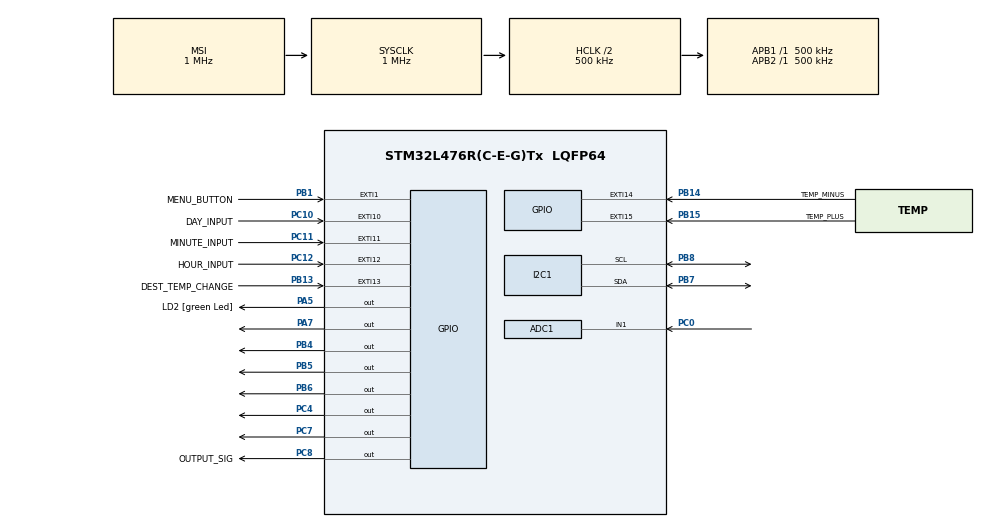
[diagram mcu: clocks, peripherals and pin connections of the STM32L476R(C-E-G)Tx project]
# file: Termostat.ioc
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ADC1.Channel-4\#ChannelRegularConversion=ADC_CHANNEL_1
ADC1.LowPowerAutoWait=DISABLE
ADC1.NbrOfConversionFlag=1
ADC1.OffsetNumber-4\#ChannelRegularConversion=ADC_OFFSET_NONE
ADC1.Overrun=ADC_OVR_DATA_OVERWRITTEN
ADC1.Rank-4\#ChannelRegularConversion=1
ADC1.SamplingTime-4\#ChannelRegularConversion=ADC_SAMPLETIME_640CYCLES_5
ADC1.master=1
I2C1.Timing=0x00000000
Mcu.Family=STM32L4
Mcu.Name=STM32L476R(C-E-G)Tx
Mcu.Package=LQFP64
NVIC.EXTI15_10_IRQn=true\:10\:0\:true\:false\:true\:true\:true\:true
NVIC.EXTI1_IRQn=true\:10\:0\:true\:false\:true\:true\:true\:true
NVIC.PriorityGroup=NVIC_PRIORITYGROUP_4
NVIC.TIM6_DAC_IRQn=true\:11\:0\:true\:false\:true\:true\:true\:true
NVIC.TIM7_IRQn=true\:5\:0\:true\:false\:true\:true\:true\:true
PA13\ (JTMS-SWDIO).GPIO_Label=TMS
PA13\ (JTMS-SWDIO).Mode=Serial_Wire
PA13\ (JTMS-SWDIO).Signal=SYS_JTMS-SWDIO
PA14\ (JTCK-SWCLK).GPIO_Label=TCK
PA14\ (JTCK-SWCLK).Mode=Serial_Wire
PA14\ (JTCK-SWCLK).Signal=SYS_JTCK-SWCLK
PA2.GPIO_Label=USART_TX
PA2.GPIO_Mode=GPIO_MODE_AF_PP
PA2.GPIO_PuPd=GPIO_NOPULL
PA2.GPIO_Speed=GPIO_SPEED_FREQ_VERY_HIGH
PA2.Signal=USART2_TX
PA3.GPIO_Label=USART_RX
PA3.GPIO_Mode=GPIO_MODE_AF_PP
PA3.GPIO_PuPd=GPIO_NOPULL
PA3.GPIO_Speed=GPIO_SPEED_FREQ_VERY_HIGH
PA3.Signal=USART2_RX
PA5.GPIO_Label=LD2 [green Led]
PA5.GPIO_ModeDefaultOutputPP=GPIO_MODE_OUTPUT_PP
PA5.GPIO_PuPd=GPIO_NOPULL
PA5.GPIO_Speed=GPIO_SPEED_FREQ_LOW
PA5.Signal=GPIO_Output
PA7.Signal=GPIO_Output
PB1.GPIO_Label=MENU_BUTTON
PB1.GPIO_ModeDefaultEXTI=GPIO_MODE_IT_FALLING
PB1.Signal=GPXTI1
PB13.GPIO_Label=DEST_TEMP_CHANGE
PB13.GPIO_ModeDefaultEXTI=GPIO_MODE_IT_FALLING
PB13.Signal=GPXTI13
PB14.GPIO_Label=TEMP_MINUS
PB14.GPIO_ModeDefaultEXTI=GPIO_MODE_IT_FALLING
PB14.Signal=GPXTI14
PB15.GPIO_Label=TEMP_PLUS
PB15.GPIO_ModeDefaultEXTI=GPIO_MODE_IT_FALLING
PB15.Signal=GPXTI15
PB3\ (JTDO-TRACESWO).GPIO_Label=SWO
PB3\ (JTDO-TRACESWO).Signal=SYS_JTDO-SWO
PB4\ (NJTRST).Signal=GPIO_Output
PB5.Signal=GPIO_Output
PB6.Signal=GPIO_Output
PB7.Mode=I2C
PB7.Signal=I2C1_SDA
PB8.Mode=I2C
PB8.Signal=I2C1_SCL
PC0.Signal=ADCx_IN1
PC10.GPIO_Label=DAY_INPUT
PC10.GPIO_ModeDefaultEXTI=GPIO_MODE_IT_FALLING
PC10.GPIO_PuPd=GPIO_NOPULL
PC10.Signal=GPXTI10
PC11.GPIO_Label=MINUTE_INPUT
PC11.GPIO_ModeDefaultEXTI=GPIO_MODE_IT_FALLING
PC11.GPIO_PuPd=GPIO_NOPULL
PC11.Signal=GPXTI11
PC12.GPIO_Label=HOUR_INPUT
PC12.GPIO_ModeDefaultEXTI=GPIO_MODE_IT_FALLING
PC12.GPIO_PuPd=GPIO_NOPULL
PC12.Signal=GPXTI12
PC14-OSC32_IN\ (PC14).Mode=LSE-External-Oscillator
PC14-OSC32_IN\ (PC14).Signal=RCC_OSC32_IN
PC15-OSC32_OUT\ (PC15).Mode=LSE-External-Oscillator
PC15-OSC32_OUT\ (PC15).Signal=RCC_OSC32_OUT
PC4.Signal=GPIO_Output
PC7.Signal=GPIO_Output
PC8.GPIO_Label=OUTPUT_SIG
PC8.Signal=GPIO_Output
PH0-OSC_IN\ (PH0).Signal=RCC_OSC_IN
PH1-OSC_OUT\ (PH1).Signal=RCC_OSC_OUT
ProjectManager.HeapSize=0x200
ProjectManager.StackSize=0x400
ProjectManager.TargetToolchain=STM32CubeIDE
RCC.ADCFreq_Value=32000000
RCC.AHBCLKDivider=RCC_SYSCLK_DIV2
RCC.AHBFreq_Value=500000
RCC.APB1Freq_Value=500000
RCC.APB1TimFreq_Value=500000
RCC.APB2Freq_Value=500000
RCC.APB2TimFreq_Value=500000
RCC.CortexFreq_Value=500000
RCC.HCLKFreq_Value=500000
RCC.HSE_VALUE=8000000
RCC.HSI_VALUE=16000000
RCC.MSIClockRange=RCC_MSIRANGE_4
RCC.MSI_VALUE=1000000
RCC.PLLN=10
RCC.PLLSAI1R=RCC_PLLR_DIV4
RCC.PLLSourceVirtual=RCC_PLLSOURCE_HSI
RCC.PREFETCH_ENABLE=1
RCC.RTCClockSelection=RCC_RTCCLKSOURCE_LSE
RCC.SYSCLKFreq_VALUE=1000000
RCC.USBFreq_Value=64000000
RCC.VCOOutputFreq_Value=160000000
SH.ADCx_IN1.0=ADC1_IN1,IN1-Single-Ended
TIM6.Period=249
TIM6.Prescaler=19999
TIM7.Period=1499
TIM7.Prescaler=19999
VP_RTC_VS_RTC_Activate.Mode=RTC_Enabled
VP_TIM6_VS_ClockSourceINT.Mode=Enable_Timer
VP_TIM7_VS_ClockSourceINT.Mode=Enable_Timer
board=NUCLEO-L476RG

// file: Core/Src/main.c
/* USER CODE BEGIN Header */
/**
  ******************************************************************************
  * @file           : main.c
  * @brief          : Main program body
  ******************************************************************************
  * @attention
  *
  * Copyright (c) 2022 STMicroelectronics.
  * All rights reserved.
  *
  * This software is licensed under terms that can be found in the LICENSE file
  * in the root directory of this software component.
  * If no LICENSE file comes with this software, it is provided AS-IS.
  *
  ******************************************************************************
  */
/* USER CODE END Header */
#include "main.h"
#include "adc.h"
#include "i2c.h"
#include "rtc.h"
#include "tim.h"
#include "gpio.h"

/* USER CODE BEGIN Includes */
#include <stdio.h>
#include "lcd.h"
#include <stdbool.h>
#include "eeprom.h"
/* USER CODE END Includes */

void SystemClock_Config(void);

/* USER CODE BEGIN 0 */
uint32_t value;

float temp,p_temp=0.0f, dest_temp_C = 15.0f, p_dest_temp_C = 0.0f, dest_temp_H = 24.0f, p_dest_temp_H = 0.0f;//variables for keeping temperature values
							//temp - current temperature, dest_temp_c/h - target temperature cold/hot, p_xxxx - previous value of this variable

bool work_state = true, p_work_state = false, boiler_state = false,p_boiler_state = false;
		//work_state - chosen target temperature (cold/hot), boiler_state - signal sent to boiler, p_xxxx - previous value of this variable

bool tick_stopped = false;//variable is set to true, when controller is in sleep mode. tick has to be stopped to prevent waking up processor by "increment tick interrupt" function

char* days[] = {"Pon ","Wt  ","Sr  ","Czw ","Pt  ","Sob ","Nied"};

char* work_state_strings[] = {"GT", "DT"};

RTC_TimeTypeDef time = {0};
RTC_TimeTypeDef pTime = {1};
RTC_DateTypeDef date = {0};
RTC_DateTypeDef pDate = {0};

bool schedule [7][24];//this array is a plan heating plan for every hour every day

int week_day=0,p_week_day = 0,hour=0, p_hour = 0;

bool p_mode = false;

volatile bool menu_enabled = false;

void CheckHisteresis()//changes boiler state according to histeresis
{
	if(work_state == true)
			  {
				  if(temp<=dest_temp_H-0.4f)
				  {
					  boiler_state = true;
					  HAL_GPIO_WritePin(OUTPUT_SIG_GPIO_Port, OUTPUT_SIG_Pin, GPIO_PIN_SET);
				  }
				  else if(temp>=dest_temp_H+0.4f)
				  {
					  boiler_state = false;
					  HAL_GPIO_WritePin(OUTPUT_SIG_GPIO_Port, OUTPUT_SIG_Pin, GPIO_PIN_RESET);
				  }
			  }
			  else
			  {
				  if(temp<=dest_temp_C-0.4f)
				  	{
				  		boiler_state = true;
				  		HAL_GPIO_WritePin(OUTPUT_SIG_GPIO_Port, OUTPUT_SIG_Pin, GPIO_PIN_SET);
				  	}
				  	else if(temp>=dest_temp_C+0.4f)
				  	{
				  		boiler_state = false;
				  		HAL_GPIO_WritePin(OUTPUT_SIG_GPIO_Port, OUTPUT_SIG_Pin, GPIO_PIN_RESET);
				  	}
			  }
}
void HAL_TIM_PeriodElapsedCallback(TIM_HandleTypeDef *htim)
{
	if(tick_stopped == true)
	{
		HAL_ResumeTick();
		tick_stopped = false;
		__HAL_TIM_SET_COUNTER(&htim6,0);
		HAL_TIM_Base_Start_IT(&htim6);
	}

	if(htim==&htim7)//ADC reading for temperature sensor
	{
		HAL_ADC_Start(&hadc1);
		HAL_ADC_PollForConversion(&hadc1, HAL_MAX_DELAY);
		value = HAL_ADC_GetValue(&hadc1);
		temp = value*330.0f/4096.0f;
		CheckHisteresis();
		//printf("przerwanie\n");
	}
	if(htim==&htim6)//sleep mode activation
	{
		HAL_TIM_Base_Stop_IT(&htim6);
		tick_stopped = true;
		HAL_SuspendTick();
		HAL_PWR_EnterSLEEPMode(PWR_MAINREGULATOR_ON, PWR_SLEEPENTRY_WFI);
	}
}

/*int __io_putchar(int ch)
{
	if(ch=='\n')
	{
		uint8_t ch2 = '\r';
		HAL_UART_Transmit(&huart2, &ch2, 1, HAL_MAX_DELAY);
	}
	HAL_UART_Transmit(&huart2, (uint8_t*)&ch, 1, HAL_MAX_DELAY);
	return 1;
}*/

void HAL_GPIO_EXTI_Callback(uint16_t GPIO_Pin)//interruptions from buttons
{
	__HAL_TIM_SET_COUNTER(&htim6,0);
	if(tick_stopped == true)
	{
		HAL_ResumeTick();
		tick_stopped = false;
		__HAL_TIM_SET_COUNTER(&htim6,0);
		HAL_TIM_Base_Start_IT(&htim6);
	}
	RTC_TimeTypeDef time = {0};
	RTC_DateTypeDef date = {0};

	time.TimeFormat = RTC_HOURFORMAT_24;
	HAL_RTC_GetTime(&hrtc, &time, RTC_FORMAT_BIN);
	HAL_RTC_GetDate(&hrtc, &date, RTC_FORMAT_BIN);

	switch(GPIO_Pin)
	{
		case DAY_INPUT_Pin://changes day in main view or schedule menu
		{
			if(menu_enabled == false)
			{
				if(date.WeekDay == RTC_WEEKDAY_SUNDAY)
					date.WeekDay = RTC_WEEKDAY_MONDAY;
				else
					date.WeekDay++;
				HAL_RTC_SetDate(&hrtc, &date, RTC_FORMAT_BIN);
			}
			else
			{
				if(week_day<6)
					week_day++;
				else
					week_day = 0;
			}
			break;
		}
		case HOUR_INPUT_Pin://changes hour in main view or schedule menu
		{
			if(menu_enabled == false)
			{
				if(time.Hours>=23)
				{
					time.Hours = 0;
				}

				else
				{
					time.Hours++;
				}
				HAL_RTC_SetTime(&hrtc, &time, RTC_FORMAT_BIN);
			}
			else
			{
				if(hour<23)
					hour++;
				else
					hour = 0;
			}
			break;
		}
		case MINUTE_INPUT_Pin://changes minute in main view
		{
			if(menu_enabled == false)
			{
				if(time.Minutes >= 59)
				{
					time.Minutes = 0;
				}
				else
				{
					time.Minutes++;
				}
				HAL_RTC_SetTime(&hrtc, &time, RTC_FORMAT_BIN);
			}
			break;
		}
		case DEST_TEMP_CHANGE_Pin://changes destination temperature to high or low (work_state)
		{
			if(menu_enabled == false)
			{
				work_state = !work_state;
				CheckHisteresis();
			}
			else
			{
				schedule[week_day][hour] = !schedule[week_day][hour];
			}
			break;
		}
		case TEMP_PLUS_Pin://changes value of destination temperature
		{
			if(menu_enabled == false)
			{
				if(work_state == true)
				{
					if(dest_temp_H<30.0f)
						dest_temp_H += 0.5f;
				}
				else
				{
					if(dest_temp_C<=dest_temp_H-1.0f)
						dest_temp_C += 0.5f;
				}
				CheckHisteresis();
			}
			break;
		}
		case TEMP_MINUS_Pin://changes value of destination temperature
		{
			if(menu_enabled == false)
			{
				if(work_state == true)
				{
					if(dest_temp_H>=dest_temp_C+1.0f)
						dest_temp_H = dest_temp_H - 0.5f;
				}
				else
				{
					if(dest_temp_C>5)
						dest_temp_C -= 0.5f;
				}
				CheckHisteresis();
			}
			break;
		}
		case MENU_BUTTON_Pin://enters or leaves schedule menu
		{
			menu_enabled = !menu_enabled;
			break;
		}
	}
	HAL_Delay(50);
}

// Lcd_PortType ports[] = { D4_GPIO_Port, D5_GPIO_Port, D6_GPIO_Port, D7_GPIO_Port };
  Lcd_PortType ports[] = { GPIOC, GPIOB, GPIOA, GPIOC };
  // Lcd_PinType pins[] = {D4_Pin, D5_Pin, D6_Pin, D7_Pin};
  Lcd_PinType pins[] = {GPIO_PIN_7, GPIO_PIN_6, GPIO_PIN_7, GPIO_PIN_4};
  Lcd_HandleTypeDef lcd;

void DisplayDay()//displays day in main view
{
	Lcd_cursor(&lcd, 0,0);
	Lcd_string(&lcd, days[date.WeekDay-1]);
}
void DisplayDayInMenu()//displays day in menu
{
	Lcd_cursor(&lcd, 1,0);
	Lcd_string(&lcd, days[week_day]);
}
void DisplayHourInMenu()//displays hour in menu
{
	Lcd_cursor(&lcd, 1,5);
	Lcd_string(&lcd, "godz:");
	if(hour<10)
		Lcd_int(&lcd, 0);
	Lcd_int(&lcd, hour);
}
void DisplayModeInMenu()//displays chosen target temperature in schedule menu
{
	Lcd_cursor(&lcd, 1,12);
	Lcd_string(&lcd, "->");
	if(schedule[week_day][hour]==true)
	{
		Lcd_string(&lcd, work_state_strings[0]);
	}
	else
	{
		Lcd_string(&lcd, work_state_strings[1]);
	}
}
void DisplayTime()//displays time in main view
{
	Lcd_cursor(&lcd, 0,5);
	if(time.Hours<=9)
	    {
	    	Lcd_int(&lcd, 0);
	    	Lcd_int(&lcd, time.Hours);
	    }
	    else
	    	Lcd_int(&lcd, time.Hours);

	    Lcd_string(&lcd, ":");
	    Lcd_cursor(&lcd, 0,8);
	    if(time.Minutes<=9)
	        {
	        	Lcd_int(&lcd, 0);
	        	Lcd_int(&lcd, time.Minutes);
	        }
	    else
	    	Lcd_int(&lcd, time.Minutes);
}
void DisplayCurrentTemp()//displays current temperature in main view
{
	Lcd_cursor(&lcd, 0,11);
	int temp_float = (int)(temp*10)%10;
	Lcd_int(&lcd, (int)temp);
	Lcd_string(&lcd, ".");
	Lcd_int(&lcd, temp_float);
	Lcd_string(&lcd, "C");
}
void DisplayBoilerState()//displays state of boiler
{
	if(boiler_state == true)
	{
	    	Lcd_cursor(&lcd, 1,0);
	    	Lcd_string(&lcd, "Grzanie");
	}
	else
	{
		Lcd_cursor(&lcd, 1,0);
	    Lcd_string(&lcd, "       ");
	}
}
void DisplayWorkState()//displays work state and destination temperature
{
	int temp_float, temp;
	if(work_state == true)
	    {
			temp = (int)dest_temp_H;
	    	Lcd_cursor(&lcd, 1,8);
	    	Lcd_string(&lcd, "GT:");
	    	temp_float = (int)(dest_temp_H*10)%10;
	    	Lcd_int(&lcd, temp);
	    	Lcd_string(&lcd, ".");
	    	Lcd_int(&lcd, temp_float);
	    	if(temp<10)
	    		Lcd_string(&lcd, "C ");
	    	else
	    		Lcd_string(&lcd, "C");
	    }
	    else
	    {
	    	temp = (int)dest_temp_C;
	    	Lcd_cursor(&lcd, 1,8);
	    	Lcd_string(&lcd, "DT:");
	    	temp_float = (int)(dest_temp_C*10)%10;
	    	Lcd_int(&lcd, (int)dest_temp_C);
	    	Lcd_string(&lcd, ".");
	    	Lcd_int(&lcd, temp_float);
	    	if(temp<10)
	    		Lcd_string(&lcd, "C ");
	    	else
	    		Lcd_string(&lcd, "C");
	    }
}

/* USER CODE END 0 */

int main(void)
{

  /* MCU Configuration--------------------------------------------------------*/

  /* Reset of all peripherals, Initializes the Flash interface and the Systick. */
  HAL_Init();

  /* Configure the system clock */
  SystemClock_Config();

  /* Initialize all configured peripherals */
  MX_GPIO_Init();
  MX_RTC_Init();
  MX_ADC1_Init();
  MX_TIM7_Init();
  MX_I2C1_Init();
  MX_TIM6_Init();
  /* USER CODE BEGIN 2 */
  // Lcd_create(ports, pins, RS_GPIO_Port, RS_Pin, EN_GPIO_Port, EN_Pin, LCD_4_BIT_MODE);
  lcd = Lcd_create(ports, pins, GPIOB, GPIO_PIN_5, GPIOB, GPIO_PIN_4, LCD_4_BIT_MODE);

  /* USER CODE END 2 */

  /* Infinite loop */
  /* USER CODE BEGIN WHILE */

  HAL_TIM_Base_Start_IT(&htim7);//timer starts
  __HAL_TIM_SET_COUNTER(&htim7,1474);
  HAL_TIM_Base_Start_IT(&htim6);
  HAL_ADCEx_Calibration_Start(&hadc1, ADC_SINGLE_ENDED);//calibration of ADC

  HAL_ADC_Start(&hadc1);
  HAL_ADC_PollForConversion(&hadc1, HAL_MAX_DELAY);//first reading

  value = HAL_ADC_GetValue(&hadc1);
  temp = value*330.0f/4096.0f;

  time.Hours = 00;
  time.Minutes = 00;
  time.Seconds = 00;
  time.TimeFormat = RTC_HOURFORMAT_24;
  HAL_RTC_SetTime(&hrtc, &time, RTC_FORMAT_BIN);
  time.TimeFormat = RTC_HOURFORMAT_24;

  if(eeprom_read(0x00, schedule, sizeof(schedule))==HAL_OK)
  {
	  printf("successful read\n");
  }
  else
	  printf("failed read\n");

  while (1)
  {
	  if(menu_enabled==true)
	  {
		  HAL_TIM_Base_Stop_IT(&htim6);
		  Lcd_clear(&lcd);
		  Lcd_cursor(&lcd, 0,3);
		  Lcd_string(&lcd, "Ustaw plan");
		  DisplayDayInMenu();
		  DisplayHourInMenu();
		  DisplayModeInMenu();
		  HAL_Delay(200);

		  while(menu_enabled == true)
		  {
			  if(p_week_day != week_day)
			  {
				  p_week_day = week_day;
				  DisplayDayInMenu();
			  }
			  if(p_hour != hour)
			  {
				  p_hour = hour;
				  DisplayHourInMenu();
			  }
			  if(p_mode != schedule[week_day][hour])
			  {
				  p_mode = schedule[week_day][hour];
				  DisplayModeInMenu();
			  }
		  }
			  /*if(HAL_GPIO_ReadPin(MENU_BUTTON_GPIO_Port, MENU_BUTTON_Pin) == GPIO_PIN_RESET)
			  {*/
				  //menu_enabled = false;

				  Lcd_clear(&lcd);
				  Lcd_cursor(&lcd, 0, 2);
				  Lcd_string(&lcd, "Zapisywanie");

				  work_state = schedule[date.WeekDay-1][time.Hours];
				  uint8_t day,hour,address = 0x00;
				  for(day=0;day<7;day++)
				  {
					  for(hour=0;hour<24;hour++)
					  {
						  if(eeprom_write(address, &schedule[day][hour], 1)==HAL_OK)
							  printf("%d %d write success\n",day,hour);
						  else
							  printf("%d %d write failed\n",day,hour);
						  address++;
					  }
				  }

				  Lcd_clear(&lcd);
				  DisplayTime();
				  DisplayDay();
				  DisplayCurrentTemp();
				  DisplayBoilerState();
				  DisplayWorkState();

				  HAL_Delay(200);
				  /*while(HAL_GPIO_ReadPin(MENU_BUTTON_GPIO_Port, MENU_BUTTON_Pin) == GPIO_PIN_RESET)
				  {}*/
			  //}
	  	  //}
		  __HAL_TIM_SET_COUNTER(&htim6,0);
		  HAL_TIM_Base_Start_IT(&htim6);
	  }
	  HAL_RTC_GetTime(&hrtc, &time, RTC_FORMAT_BIN);
	  HAL_RTC_GetDate(&hrtc, &date, RTC_FORMAT_BIN);
	  if(pTime.Minutes!=time.Minutes || pTime.Hours!=time.Hours)
	  {
		  if(pTime.Hours!=time.Hours)
		  {
			  work_state = schedule[date.WeekDay-1][time.Hours];
		  }
		  DisplayTime();
		  pTime = time;
	  }
	  if(pDate.WeekDay!=date.WeekDay)
	  {
		  DisplayDay();
		  pDate = date;
	  }
	  if(p_temp!=temp)
	  {
		  DisplayCurrentTemp();
		  p_temp = temp;
	  }
	  if(p_boiler_state!=boiler_state)
	  {
		  DisplayBoilerState();
		  p_boiler_state = boiler_state;
	  }
	  if(p_work_state!=work_state || p_dest_temp_C!=dest_temp_C || p_dest_temp_H!=dest_temp_H)
	  {
		  DisplayWorkState();
		  CheckHisteresis();
		  p_work_state = work_state;
		  p_dest_temp_C = dest_temp_C;
		  p_dest_temp_H = dest_temp_H;
	  }
    /* USER CODE END WHILE */

  }
}

void SystemClock_Config(void)
{
  RCC_OscInitTypeDef RCC_OscInitStruct = {0};
  RCC_ClkInitTypeDef RCC_ClkInitStruct = {0};

  /** Configure the main internal regulator output voltage
  */
  if (HAL_PWREx_ControlVoltageScaling(PWR_REGULATOR_VOLTAGE_SCALE1) != HAL_OK)
  {
    Error_Handler();
  }

  /** Configure LSE Drive Capability
  */
  HAL_PWR_EnableBkUpAccess();
  __HAL_RCC_LSEDRIVE_CONFIG(RCC_LSEDRIVE_LOW);

  /** Initializes the RCC Oscillators according to the specified parameters
  * in the RCC_OscInitTypeDef structure.
  */
  RCC_OscInitStruct.OscillatorType = RCC_OSCILLATORTYPE_HSI|RCC_OSCILLATORTYPE_LSE
                              |RCC_OSCILLATORTYPE_MSI;
  RCC_OscInitStruct.LSEState = RCC_LSE_ON;
  RCC_OscInitStruct.HSIState = RCC_HSI_ON;
  RCC_OscInitStruct.HSICalibrationValue = RCC_HSICALIBRATION_DEFAULT;
  RCC_OscInitStruct.MSIState = RCC_MSI_ON;
  RCC_OscInitStruct.MSICalibrationValue = 0;
  RCC_OscInitStruct.MSIClockRange = RCC_MSIRANGE_4;
  RCC_OscInitStruct.PLL.PLLState = RCC_PLL_NONE;
  if (HAL_RCC_OscConfig(&RCC_OscInitStruct) != HAL_OK)
  {
    Error_Handler();
  }

  /** Initializes the CPU, AHB and APB buses clocks
  */
  RCC_ClkInitStruct.ClockType = RCC_CLOCKTYPE_HCLK|RCC_CLOCKTYPE_SYSCLK
                              |RCC_CLOCKTYPE_PCLK1|RCC_CLOCKTYPE_PCLK2;
  RCC_ClkInitStruct.SYSCLKSource = RCC_SYSCLKSOURCE_MSI;
  RCC_ClkInitStruct.AHBCLKDivider = RCC_SYSCLK_DIV2;
  RCC_ClkInitStruct.APB1CLKDivider = RCC_HCLK_DIV1;
  RCC_ClkInitStruct.APB2CLKDivider = RCC_HCLK_DIV1;

  if (HAL_RCC_ClockConfig(&RCC_ClkInitStruct, FLASH_LATENCY_0) != HAL_OK)
  {
    Error_Handler();
  }

  /** Enable MSI Auto calibration
  */
  HAL_RCCEx_EnableMSIPLLMode();
}

void Error_Handler(void)
{
  __disable_irq();
  while (1)
  {
  }
}
